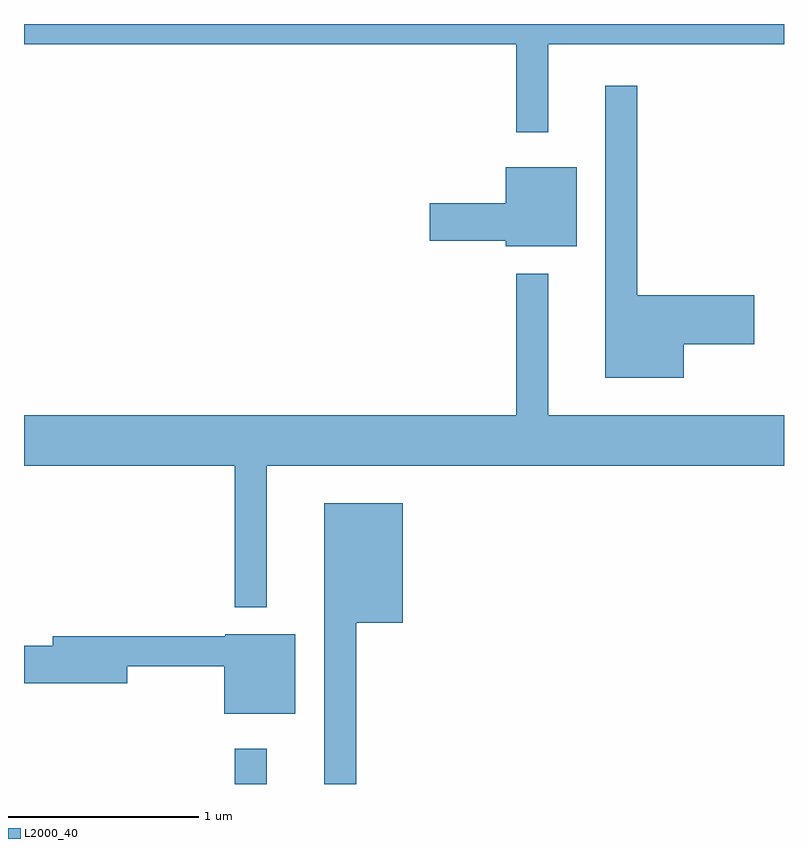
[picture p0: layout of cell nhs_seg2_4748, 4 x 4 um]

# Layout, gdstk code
import gdstk
lib = gdstk.Library(unit=1e-6, precision=1e-09)
def R(c, l, rs):  # rectangles x0, y0, x1, y1
    for r in rs: c.add(gdstk.rectangle(r[:2], r[2:], *l))
def P(c, l, *ps):  # polygons
    for p in ps: c.add(gdstk.Polygon(p, *l))
L2000_40 = (2000, 40)

nhs_seg2_4748 = lib.new_cell('nhs_seg2_4748')
R(nhs_seg2_4748, L2000_40, [(326.721,997.802,326.889,997.988)])
P(nhs_seg2_4748, L2000_40, [(328.369,1001.696),(329.611,1001.696),(329.611,1001.802),(325.611,1001.802),(325.611,1001.696),(328.201,1001.696),(328.201,1001.233),(328.369,1001.233)],
  [(329.084,1000.116),(329.454,1000.116),(329.454,1000.374),(328.839,1000.374),(328.839,1001.478),(328.671,1001.478),(328.671,999.941),(329.084,999.941)],
  [(328.519,1001.049),(328.146,1001.049),(328.146,1000.859),(327.746,1000.859),(327.746,1000.661),(328.146,1000.661),(328.146,1000.631),(328.519,1000.631)],
  [(326.889,999.476),(329.611,999.476),(329.611,999.744),(328.369,999.744),(328.369,1000.488),(328.201,1000.488),(328.201,999.744),(325.611,999.744),(325.611,999.476),(326.721,999.476),(326.721,998.733),(326.889,998.733)],
  [(327.359,998.651),(327.604,998.651),(327.604,999.279),(327.191,999.279),(327.191,997.802),(327.359,997.802)],
  [(327.039,998.589),(326.67,998.589),(326.67,998.579),(325.761,998.579),(325.761,998.529),(325.611,998.529),(325.611,998.331),(326.154,998.331),(326.154,998.421),(326.666,998.421),(326.666,998.171),(327.039,998.171)])

lib.write_gds('nhs_seg2_4748.gds')
